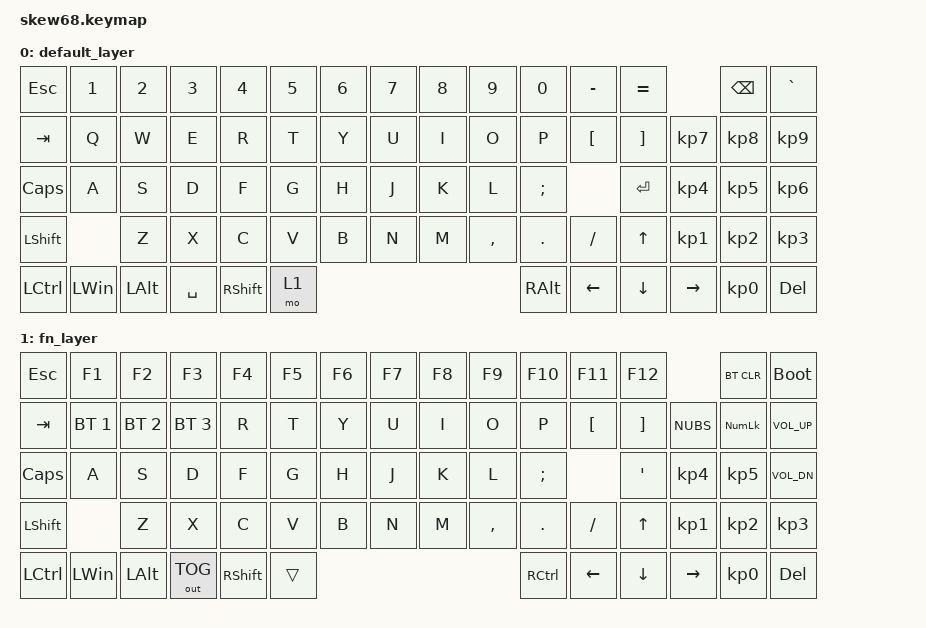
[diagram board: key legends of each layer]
/*
 * Copyright (c) 2020 The ZMK Contributors
 *
 * SPDX-License-Identifier: MIT
 */

#include <behaviors.dtsi>
#include <dt-bindings/zmk/keys.h>
#include <dt-bindings/zmk/rgb.h>
#include <dt-bindings/zmk/bt.h>
#include <dt-bindings/zmk/outputs.h>
#include <dt-bindings/zmk/ext_power.h>

/ {
	keymap0: keymap {
		compatible = "zmk,keymap";

		default_layer {
// -----------------------------------------------------------------------------------------------------
// | ESC     |  1    |  2    |  3    |  4      |  5  |  6      |  7  |  8  |  9  |  0   |  -    |             =         |        | BKSP  |  ~    |     
// | TAB     |  Q    |  W    |  E    |  R      |  T  |  Y      |  U  |  I  |  O  |  P   |  [    |             ]         |  P7    | P8    |  P9   |     
// | CAPS    |  A    |  S    |  D    |  F      |  G  |  H      |  J  |  K  |  L  |  ;   |       |               ENTER   |  P4    | P5    |  P6   |
// |  SHIFT  |       | Z     |  X    |  C      |  V  |  B      |  N  |  M  |  ,  |  .   |  /    |               UP      |  P1    | P2    |  P3   |
// |  CTL    |  WIN  |  ALT  |       |  SPACE  |     |  SHIFT  |     |     |  fn |  ALT |  LEFT |             DOWN      | RIGHT  | P0    |  DEL  |   
// -----------------------------------------------------------------------------------------------------
			bindings = <
	&kp ESC    &kp N1    &kp N2    &kp N3 &kp N4 &kp N5 &kp N6 &kp N7 &kp N8 &kp N9    &kp N0     &kp MINUS    &kp EQUAL              &kp BSPC  &kp GRAVE
    &kp TAB    &kp Q     &kp W     &kp E  &kp R  &kp T  &kp Y  &kp U  &kp I  &kp O     &kp P      &kp LBKT     &kp RBKT     &kp KP_N7 &kp KP_N8 &kp KP_N9
	&kp CLCK   &kp A     &kp S     &kp D  &kp F  &kp G  &kp H  &kp J  &kp K  &kp L     &kp SEMI                &kp ENTER    &kp KP_N4 &kp KP_N5 &kp KP_N6 
	&kp LSHFT            &kp Z     &kp X  &kp C  &kp V  &kp B  &kp N  &kp M  &kp COMMA &kp DOT    &kp SLASH    &kp UP       &kp KP_N1 &kp KP_N2 &kp KP_N3
	&kp LCTRL  &kp LWIN  &kp LALT         &kp SPACE     &kp RSHIFT           &mo 1     &kp RALT  &kp LEFT      &kp DOWN     &kp RIGHT &kp KP_N0 &kp DEL 
			>;
		};
	
		fn_layer {
// ------------------------------------------------------------------------------------------------------
// | ESC     | F1    | F2    | F3    | F4             | F5  | F6      | F7  | F8  | F9  | F10  |  F11  |           F12         |        | BT_CLR  |  BOOT    |     
// | TAB     | BT1   |  BT2  |  BT3  |  R             |  T  |  Y      |  U  |  I  |  O  |  P   |  [    |             ]         |  \     | NUM     |  VOLUP   |     
// | CAPS    |  A    |  S    |  D    |  F             |  G  |  H      |  J  |  K  |  L  |  ;   |       |          ’            |  P4    | P5      |  VOLDN  |
// |  SHIFT  |       | Z     |  X    |  C             |  V  |  B      |  N  |  M  |  ,  |  .   |  /    |               UP      |  P1    | P2      |  P3   |
// |  CTL    |  WIN  |  ALT  |       |  trans USB/BT  |     |  SHIFT  |     |     |  fn |  CTL |  LEFT |             DOWN      | RIGHT  | P0      |  DEL  |   
// ------------------------------------------------------------------------------------------------------
			bindings = <
	&kp ESC    &kp F1       &kp F2       &kp F3       &kp F4 &kp F5 &kp F6 &kp F7 &kp F8 &kp F9    &kp F10    &kp F11      &kp F12                &bt BT_CLR  &bootloader
    &kp TAB    &bt BT_SEL 1 &bt BT_SEL 2 &bt BT_SEL 3 &kp R  &kp T  &kp Y  &kp U  &kp I  &kp O     &kp P      &kp LBKT     &kp RBKT     &kp NUBS  &kp KP_NUM  &kp C_VOL_UP
	&kp CLCK   &kp A        &kp S        &kp D        &kp F  &kp G  &kp H  &kp J  &kp K  &kp L     &kp SEMI                &kp SQT      &kp KP_N4 &kp KP_N5   &kp C_VOL_DN 
	&kp LSHFT               &kp Z        &kp X        &kp C  &kp V  &kp B  &kp N  &kp M  &kp COMMA &kp DOT    &kp SLASH    &kp UP       &kp KP_N1 &kp KP_N2   &kp KP_N3
	&kp LCTRL  &kp LWIN  &kp LALT        &out OUT_TOG        &kp RSHIFT           &trans     &kp RCTRL  &kp LEFT      &kp DOWN     &kp RIGHT &kp KP_N0 &kp DEL 
			>;	
		};
	};
};
